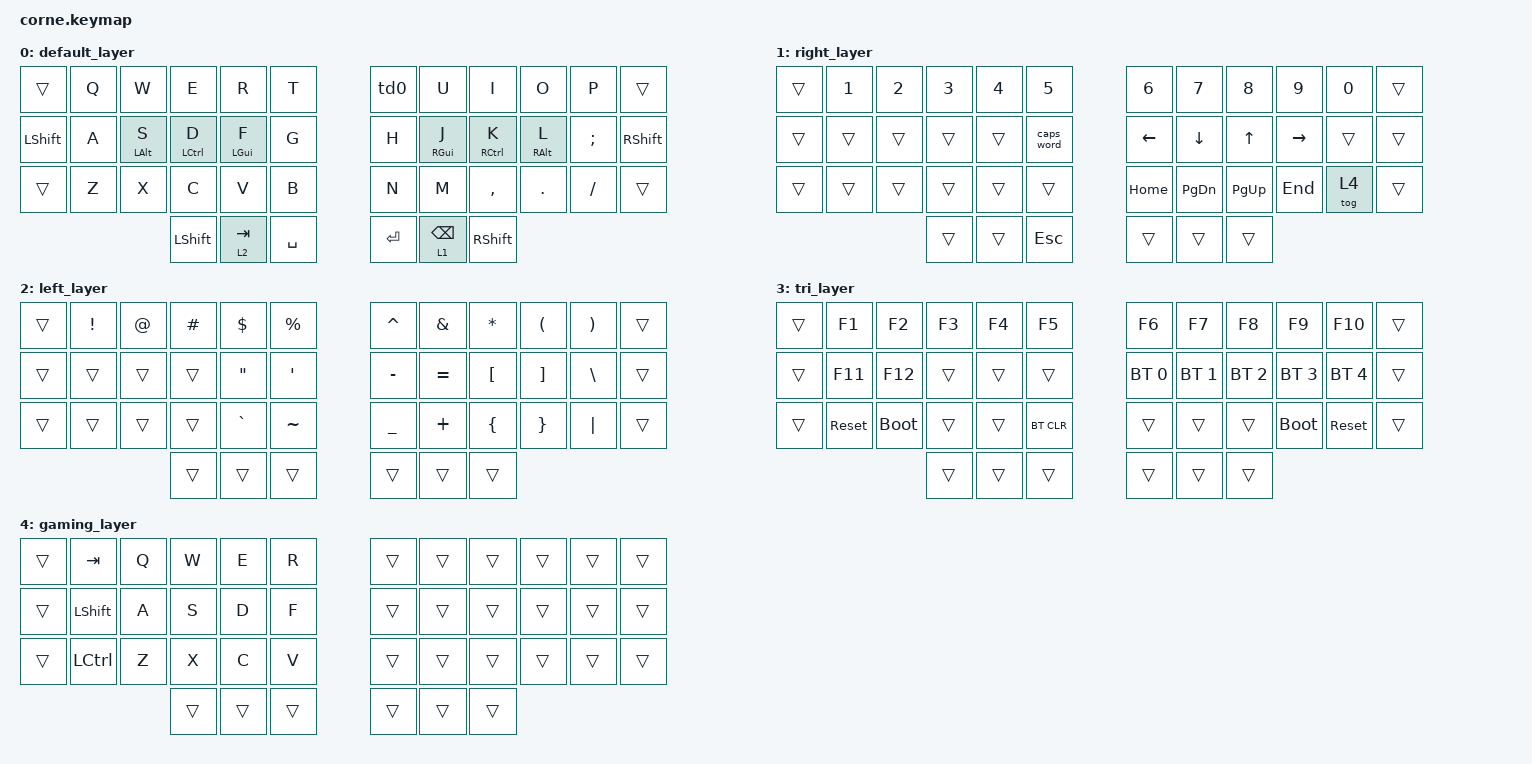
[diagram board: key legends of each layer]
/*
 * Copyright (c) 2020 The ZMK Contributors
 *
 * SPDX-License-Identifier: MIT
 */

#include <behaviors.dtsi>
#include <dt-bindings/zmk/keys.h>
#include <dt-bindings/zmk/bt.h>

&lt {
    flavor = "hold-preferred";
    quick-tap-ms = <0>;
    tapping-term-ms = <240>;
};

/ {
    behaviors {
        ht: hold_tap {
            compatible = "zmk,behavior-hold-tap";
            #binding-cells = <2>;
            flavor = "tap-preferred";
            tapping-term-ms = <150>;
            quick-tap-ms = <0>;
            bindings = <&kp>, <&kp>;
        };
        hta: hold_tap_alt {
            compatible = "zmk,behavior-hold-tap";
            #binding-cells = <2>;
            flavor = "tap-preferred";
            tapping-term-ms = <240>;
            quick-tap-ms = <0>;
            bindings = <&kp>, <&kp>;
        };
        hts: hold_tap_shift {
            compatible = "zmk,behavior-hold-tap";
            #binding-cells = <2>;
            flavor = "hold-preferred";
            tapping-term-ms = <400>;
            bindings = <&kp>, <&kp>;

            // quick-tap-ms = <0>;
            require-prior-idle-ms = <100>;
        };
         td0: tap_dance_0 {
            compatible = "zmk,behavior-tap-dance";
            #binding-cells = <0>;
            tapping-term-ms = <160>;
            bindings = <&kp Y>, <&kp ESC>;
        };
    };


    conditional_layers {
        compatible = "zmk,conditional-layers";
        tri_layer {
            if-layers = <1 2>;
            then-layer = <3>;
        };
    };

        keymap {
        compatible = "zmk,keymap";
        default_layer {
            bindings = <
        //╭──────────┬──────────┬──────────┬──────────┬──────────╮   ╭──────────┬──────────┬──────────┬──────────┬──────────╮
        //│  Q       │  W       │  E       │  R       │  T       │   │  Y, ESC  │  U       │  I       │  O       │  P       │
          &trans &kp Q      &kp W      &kp E      &kp R      &kp T          &td0      &kp U      &kp I      &kp O      &kp P &trans
        //├──────────┼──────────┼──────────┼──────────┼──────────┤   ├──────────┼──────────┼──────────┼──────────┼──────────┤
        //│  A       │  S       │  D       │  F       │  G       │   │  H       │  J       │  K       │  L       │ ; :      │
          &kp LSHFT &kp A &hta LALT S &ht LCTRL D &ht LGUI F  &kp G       &kp H     &ht RGUI J &ht RCTRL K  &hta RALT L  &kp SEMI &kp RSHFT
        //├──────────┼──────────┼──────────┼──────────┼──────────┤   ├──────────┼──────────┼──────────┼──────────┼──────────┤
        //│  Z       │  X       │  C       │  V       │  B       │   │  N       │  M       │ , <      │ . >      │ / ?      │
          &trans &kp Z      &kp X      &kp C      &kp V      &kp B          &kp N      &kp M      &kp COMMA  &kp DOT    &kp FSLH &trans
        //╰──────────┴──────────┴──────────┼──────────┼──────────┤   ├──────────┼──────────┼──────────┴──────────┴──────────╯
                                          &kp LSHFT &lt 2 TAB   &kp SPACE     &kp ENTER  &lt 1 BSPC &kp RSHFT
        //                                 ╰──────────┴──────────╯   ╰──────────┴──────────╯
            >;
        };

        right_layer {
            bindings = <
        //╭──────────┬──────────┬──────────┬──────────┬──────────╮   ╭──────────┬──────────┬──────────┬──────────┬──────────╮
        //│ 1        │  2       │  3       │  4       │   5      │   │ 6        │ 7        │ 8        │ 9        │  0       │
        &trans &kp N1     &kp N2     &kp N3     &kp N4     &kp N5         &kp N6     &kp N7     &kp N8     &kp N9      &kp N0 &trans
        //├──────────┼──────────┼──────────┼──────────┼──────────┤   ├──────────┼──────────┼──────────┼──────────┼──────────┤
        //│          │          │          │          │          │   │ LEFT     │ DOWN     │ UP       │ RIGHT    │          │
        &trans &trans     &trans     &trans     &trans     &caps_word     &kp LEFT   &kp DOWN   &kp UP     &kp RIGHT   &trans &trans
        //├──────────┼──────────┼──────────┼──────────┼──────────┤   ├──────────┼──────────┼──────────┼──────────┼──────────┤
        //│          │          │          │          │          │   │          │          │          │          │          │
        &trans   &trans     &trans     &trans     &trans     &trans         &kp HOME   &kp PG_DN  &kp PG_UP  &kp END   &tog 4 &trans
        //╰──────────┴──────────┴──────────┼──────────┼──────────┤   ├──────────┼──────────┼──────────┴──────────┴──────────╯
                                        &trans &trans     &kp ESC        &trans     &trans &trans
        //                                 ╰──────────┴──────────╯   ╰──────────┴──────────╯
            >;
        };

        left_layer {
            bindings = <
        //╭──────────┬──────────┬──────────┬──────────┬──────────╮   ╭──────────┬──────────┬──────────┬──────────┬──────────╮
        //│   !      │  @       │  #       │  $       │  %       │   │  ^       │  &       │  *       │  (       │  )       │
         &trans  &kp EXCL   &kp AT     &kp HASH   &kp DLLR   &kp PRCNT      &kp CARET  &kp AMPS   &kp STAR   &kp LPAR   &kp RPAR &trans
        //├──────────┼──────────┼──────────┼──────────┼──────────┤   ├──────────┼──────────┼──────────┼──────────┼──────────┤
        //│          │          │          │  "       │  '       │   │  -       │  =       │  [       │  ]       │  \       │
          &trans  &trans    &trans     &trans     &kp DQT    &kp SQT        &kp MINUS  &kp EQUAL  &kp LBKT  &kp RBKT   &kp BSLH &trans
        //├──────────┼──────────┼──────────┼──────────┼──────────┤   ├──────────┼──────────┼──────────┼──────────┼──────────┤
        //│          │          │          │    `     │  ~       │   │  _       │  +       │  {       │  }       │  |       │
          &trans  &trans     &trans     &trans    &kp GRAVE  &kp TILDE      &kp UNDER  &kp PLUS   &kp LBRC   &kp RBRC   &kp PIPE &trans
        //╰──────────┴──────────┴──────────┼──────────┼──────────┤   ├──────────┼──────────┼──────────┴──────────┴──────────╯
                                            &trans  &trans     &trans         &trans     &trans &trans
        //                                 ╰──────────┴──────────╯   ╰──────────┴──────────╯
            >;
        };

        tri_layer {
            bindings = <
        //╭──────────┬──────────┬──────────┬──────────┬──────────╮   ╭──────────┬──────────┬──────────┬──────────┬──────────╮
        //│          │          │          │          │          │   │          │          │          │          │          │
          &trans &kp F1     &kp F2     &kp F3     &kp F4     &kp F5         &kp F6     &kp F7     &kp F8     &kp F9     &kp F10 &trans
        //├──────────┼──────────┼──────────┼──────────┼──────────┤   ├──────────┼──────────┼──────────┼──────────┼──────────┤
        //│          │          │          │          │          │   │          │          │          │          │          │
         &trans &kp F11     &kp F12    &trans     &trans     &trans        &bt BT_SEL 0 &bt BT_SEL 1 &bt BT_SEL 2 &bt BT_SEL 3 &bt BT_SEL 4 &trans
        //├──────────┼──────────┼──────────┼──────────┼──────────┤   ├──────────┼──────────┼──────────┼──────────┼──────────┤
        //│  RESET   │          │          │ CLEAR BT │          │   │          │          │          │          │          │
           &trans &sys_reset &bootloader &trans   &trans     &bt BT_CLR     &trans     &trans     &trans     &bootloader &sys_reset &trans
        //╰──────────┴──────────┴──────────┼──────────┼──────────┤   ├──────────┼──────────┼──────────┴──────────┴──────────╯
                                            &trans  &trans     &trans         &trans     &trans &trans
        //                                 ╰──────────┴──────────╯   ╰──────────┴──────────╯
            >;
        };

        gaming_layer {
            bindings = <
        //╭──────────┬──────────┬──────────┬──────────┬──────────╮   ╭──────────┬──────────┬──────────┬──────────┬──────────╮
        //│          │          │          │          │          │   │          │          │          │          │          │
          &trans &kp TAB    &kp Q      &kp W      &kp E      &kp R          &trans     &trans     &trans     &trans     &trans &trans
        //├──────────┼──────────┼──────────┼──────────┼──────────┤   ├──────────┼──────────┼──────────┼──────────┼──────────┤
        //│          │          │          │          │          │   │          │          │          │          │          │
          &trans &kp LSHIFT &kp A      &kp S      &kp D      &kp F          &trans     &trans     &trans     &trans     &trans &trans
        //├──────────┼──────────┼──────────┼──────────┼──────────┤   ├──────────┼──────────┼──────────┼──────────┼──────────┤
        //│          │          │          │          │          │   │          │          │          │          │          │
          &trans &kp LCTRL  &kp Z      &kp X      &kp C      &kp V          &trans     &trans     &trans     &trans     &trans &trans
        //╰──────────┴──────────┴──────────┼──────────┼──────────┤   ├──────────┼──────────┼──────────┴──────────┴──────────╯
                                           &trans  &trans     &trans         &trans     &trans &trans
        //                                 ╰──────────┴──────────╯   ╰──────────┴──────────╯
            >;
        };
    };
};
